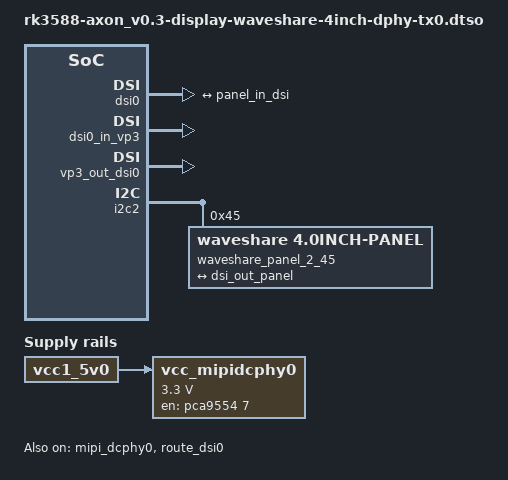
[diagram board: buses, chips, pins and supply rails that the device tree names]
//SPDX-License-Identifier: GPL-2..0+
// Copyright (C) 2024 Vicharak Computers PVT LTD

/dts-v1/;
/plugin/;

#include <dt-bindings/gpio/gpio.h>
#include <dt-bindings/pinctrl/rockchip.h>
#include <dt-bindings/display/drm_mipi_dsi.h>

&{/} {
	metadata {
		title = "Enable Waveshare 4inch DSI LCD DPHY TX0 Axon V0.3";
		compatible = "vicharak,rk3588-axon", "rockchip,rk3588";
		category = "display";
		exclusive = "waveshare_panel_2_45", "dsi0", "vp3", "dsi0_in_vp3", "vp3_out_dsi0";
		description = "Enables support for the Waveshare 4-inch LCD screen for DSI0 on\n Vicharak Axon at I2C 2 bus address 45.\n";
	};

	vcc_mipidcphy0: vcc-mipi-dcphy0 {
		compatible = "regulator-fixed";
		regulator-name = "vcc_mipidcphy0";
		regulator-min-microvolt = <3300000>;
		regulator-max-microvolt = <3300000>;
		gpio = <&pca9554 7 GPIO_ACTIVE_HIGH>;
		regulator-always-on;
		regulator-boot-on;
		enable-active-high;
		vin-supply = <&vcc1_5v0>;
	};
};

&mipi_dcphy0 {
	status = "okay";
};

&dsi0 {
	status = "okay";

	ports {
		#address-cells = <1>;
		#size-cells = <0>;

		port@1 {
			reg = <1>;

			dsi_out_panel: endpoint {
				remote-endpoint = <&panel_in_dsi>;
			};
		};
	};
};

&dsi0_in_vp2 {
	status = "disabled";
};

&dsi0_in_vp3 {
	status = "okay";
};

&vp3_out_dsi0 {
	status = "okay";
};

&route_dsi0 {
	status = "okay";
	connect = <&vp3_out_dsi0>;
};

&i2c2 {
	status = "okay";
	#address-cells = <1>;
	#size-cells = <0>;
	pinctrl-0 = <&i2c2m4_xfer>;

	waveshare_panel_2_45: panel@45 {
		compatible = "waveshare,4.0inch-panel";
		reg = <0x45>;
		status = "okay";

		ports {
			#address-cells = <1>;
			#size-cells = <0>;

			port@0 {
				reg = <0>;

				panel_in_dsi: endpoint {
					remote-endpoint = <&dsi_out_panel>;
				};
			};
		};
	};
};
